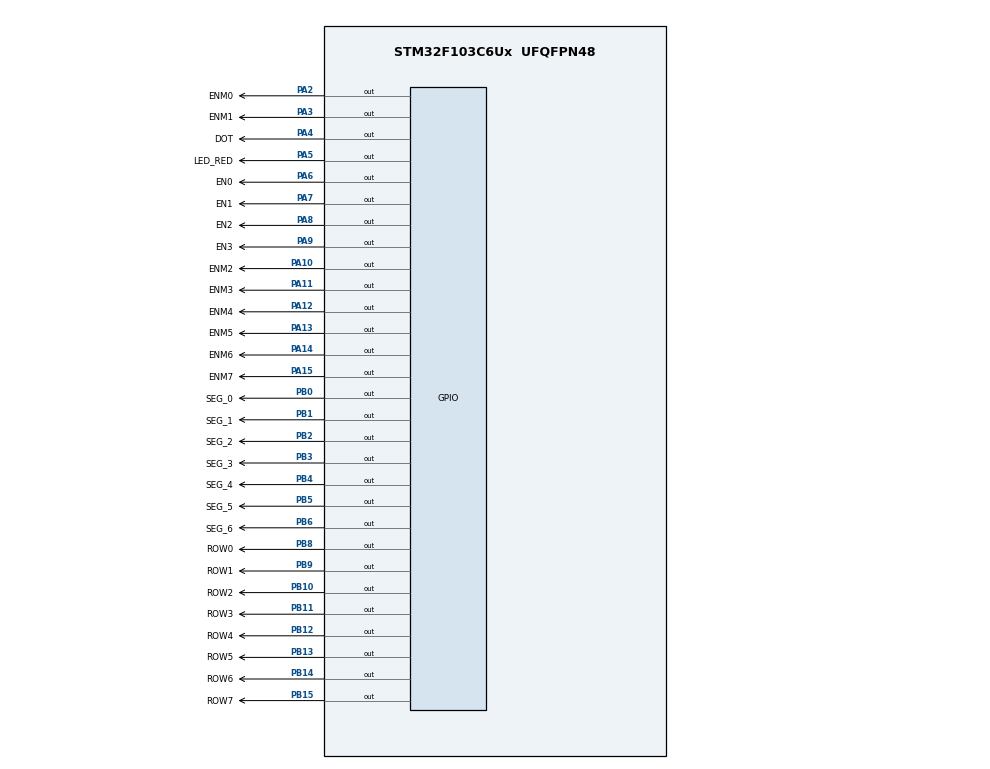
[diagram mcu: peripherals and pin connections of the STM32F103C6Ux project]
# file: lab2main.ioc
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Mcu.Family=STM32F1
Mcu.Name=STM32F103C6Ux
Mcu.Package=UFQFPN48
NVIC.PriorityGroup=NVIC_PRIORITYGROUP_4
NVIC.TIM2_IRQn=true\:0\:0\:false\:false\:true\:true\:true
PA10.GPIO_Label=ENM2
PA10.Signal=GPIO_Output
PA11.GPIO_Label=ENM3
PA11.Signal=GPIO_Output
PA12.GPIO_Label=ENM4
PA12.Signal=GPIO_Output
PA13.GPIO_Label=ENM5
PA13.Signal=GPIO_Output
PA14.GPIO_Label=ENM6
PA14.Signal=GPIO_Output
PA15.GPIO_Label=ENM7
PA15.Signal=GPIO_Output
PA2.GPIO_Label=ENM0
PA2.Signal=GPIO_Output
PA3.GPIO_Label=ENM1
PA3.Signal=GPIO_Output
PA4.GPIO_Label=DOT
PA4.Signal=GPIO_Output
PA5.GPIO_Label=LED_RED
PA5.Signal=GPIO_Output
PA6.GPIO_Label=EN0
PA6.Signal=GPIO_Output
PA7.GPIO_Label=EN1
PA7.Signal=GPIO_Output
PA8.GPIO_Label=EN2
PA8.Signal=GPIO_Output
PA9.GPIO_Label=EN3
PA9.Signal=GPIO_Output
PB0.GPIO_Label=SEG_0
PB0.Signal=GPIO_Output
PB1.GPIO_Label=SEG_1
PB1.Signal=GPIO_Output
PB10.GPIO_Label=ROW2
PB10.Signal=GPIO_Output
PB11.GPIO_Label=ROW3
PB11.Signal=GPIO_Output
PB12.GPIO_Label=ROW4
PB12.Signal=GPIO_Output
PB13.GPIO_Label=ROW5
PB13.Signal=GPIO_Output
PB14.GPIO_Label=ROW6
PB14.Signal=GPIO_Output
PB15.GPIO_Label=ROW7
PB15.Signal=GPIO_Output
PB2.GPIO_Label=SEG_2
PB2.Signal=GPIO_Output
PB3.GPIO_Label=SEG_3
PB3.Signal=GPIO_Output
PB4.GPIO_Label=SEG_4
PB4.Signal=GPIO_Output
PB5.GPIO_Label=SEG_5
PB5.Signal=GPIO_Output
PB6.GPIO_Label=SEG_6
PB6.Signal=GPIO_Output
PB8.GPIO_Label=ROW0
PB8.Signal=GPIO_Output
PB9.GPIO_Label=ROW1
PB9.Signal=GPIO_Output
ProjectManager.HeapSize=0x200
ProjectManager.StackSize=0x400
ProjectManager.TargetToolchain=STM32CubeIDE
RCC.APB1Freq_Value=8000000
RCC.APB2Freq_Value=8000000
TIM2.Period=9
TIM2.Prescaler=7999
VP_SYS_VS_ND.Mode=No_Debug
VP_TIM2_VS_ClockSourceINT.Mode=Internal
board=custom

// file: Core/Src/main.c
/* USER CODE BEGIN Header */
/**
  ******************************************************************************
  * @file           : main.c
  * @brief          : Main program body
  ******************************************************************************
  * @attention
  *
  * <h2><center>&copy; Copyright (c) 2024 STMicroelectronics.
  * All rights reserved.</center></h2>
  *
  * This software component is licensed by ST under BSD 3-Clause license,
  * the "License"; You may not use this file except in compliance with the
  * License. You may obtain a copy of the License at:
  *                        opensource.org/licenses/BSD-3-Clause
  *
  ******************************************************************************
  */
/* USER CODE END Header */
#include "main.h"

/* USER CODE BEGIN Includes */
#include "softwareTimer.h"
#include "display7seg.h"
#include "Exercise1.h"
#include "Exercise2.h"
#include "Exercise3.h"
#include "Exercise5.h"
/* USER CODE END Includes */

TIM_HandleTypeDef htim2;

void SystemClock_Config(void);
static void MX_TIM2_Init(void);
static void MX_GPIO_Init(void);

int main(void)
{

  /* MCU Configuration--------------------------------------------------------*/

  /* Reset of all peripherals, Initializes the Flash interface and the Systick. */
  HAL_Init();

  /* Configure the system clock */
  SystemClock_Config();

  /* Initialize all configured peripherals */
  MX_TIM2_Init();
  MX_GPIO_Init();
  /* USER CODE BEGIN 2 */
  HAL_TIM_Base_Start_IT (&htim2);
  /* USER CODE END 2 */

  /* Infinite loop */
  /* USER CODE BEGIN WHILE */
  setTimer(0, 1000);
  setTimer(1, 250);
  while (1)
  {
   	   if (timer_flag[0] == 1) {
   		   setTimer(0, 1000);

   		   HAL_GPIO_TogglePin(DOT_GPIO_Port, DOT_Pin);

   		   second++;
	 	   if (second >= 60) {
	 	       second = 0;
	 	       minute++;
	 	   }

	 	   if (minute >= 60) {
	 		   minute = 0;
	 		   hour++;
	 	   }

	 	   if (hour >= 24) {
	 		   hour = 0;
	 	   }

	 	   updateClockBuffer();
   	   }

   	   if (timer_flag[1] == 1) {
   		   setTimer(1, 250);
   		   update7SEG(index_LED++);
   	   }
    /* USER CODE END WHILE */

  }
}

void SystemClock_Config(void)
{
  RCC_OscInitTypeDef RCC_OscInitStruct = {0};
  RCC_ClkInitTypeDef RCC_ClkInitStruct = {0};

  /** Initializes the RCC Oscillators according to the specified parameters
  * in the RCC_OscInitTypeDef structure.
  */
  RCC_OscInitStruct.OscillatorType = RCC_OSCILLATORTYPE_HSI;
  RCC_OscInitStruct.HSIState = RCC_HSI_ON;
  RCC_OscInitStruct.HSICalibrationValue = RCC_HSICALIBRATION_DEFAULT;
  RCC_OscInitStruct.PLL.PLLState = RCC_PLL_NONE;
  if (HAL_RCC_OscConfig(&RCC_OscInitStruct) != HAL_OK)
  {
    Error_Handler();
  }
  /** Initializes the CPU, AHB and APB buses clocks
  */
  RCC_ClkInitStruct.ClockType = RCC_CLOCKTYPE_HCLK|RCC_CLOCKTYPE_SYSCLK
                              |RCC_CLOCKTYPE_PCLK1|RCC_CLOCKTYPE_PCLK2;
  RCC_ClkInitStruct.SYSCLKSource = RCC_SYSCLKSOURCE_HSI;
  RCC_ClkInitStruct.AHBCLKDivider = RCC_SYSCLK_DIV1;
  RCC_ClkInitStruct.APB1CLKDivider = RCC_HCLK_DIV1;
  RCC_ClkInitStruct.APB2CLKDivider = RCC_HCLK_DIV1;

  if (HAL_RCC_ClockConfig(&RCC_ClkInitStruct, FLASH_LATENCY_0) != HAL_OK)
  {
    Error_Handler();
  }
}

static void MX_TIM2_Init(void)
{

  TIM_ClockConfigTypeDef sClockSourceConfig = {0};
  TIM_MasterConfigTypeDef sMasterConfig = {0};

  htim2.Instance = TIM2;
  htim2.Init.Prescaler = 7999;
  htim2.Init.CounterMode = TIM_COUNTERMODE_UP;
  htim2.Init.Period = 9;
  htim2.Init.ClockDivision = TIM_CLOCKDIVISION_DIV1;
  htim2.Init.AutoReloadPreload = TIM_AUTORELOAD_PRELOAD_DISABLE;
  if (HAL_TIM_Base_Init(&htim2) != HAL_OK)
  {
    Error_Handler();
  }
  sClockSourceConfig.ClockSource = TIM_CLOCKSOURCE_INTERNAL;
  if (HAL_TIM_ConfigClockSource(&htim2, &sClockSourceConfig) != HAL_OK)
  {
    Error_Handler();
  }
  sMasterConfig.MasterOutputTrigger = TIM_TRGO_RESET;
  sMasterConfig.MasterSlaveMode = TIM_MASTERSLAVEMODE_DISABLE;
  if (HAL_TIMEx_MasterConfigSynchronization(&htim2, &sMasterConfig) != HAL_OK)
  {
    Error_Handler();
  }

}

static void MX_GPIO_Init(void)
{
  GPIO_InitTypeDef GPIO_InitStruct = {0};

  /* GPIO Ports Clock Enable */
  __HAL_RCC_GPIOA_CLK_ENABLE();
  __HAL_RCC_GPIOB_CLK_ENABLE();

  /*Configure GPIO pin Output Level */
  HAL_GPIO_WritePin(GPIOA, DOT_Pin|LED_RED_Pin|EN0_Pin|EN1_Pin
                          |EN2_Pin|EN3_Pin, GPIO_PIN_RESET);

  /*Configure GPIO pin Output Level */
  HAL_GPIO_WritePin(GPIOB, SEG_0_Pin|SEG_1_Pin|SEG_2_Pin|SEG_3_Pin
                          |SEG_4_Pin|SEG_5_Pin|SEG_6_Pin, GPIO_PIN_RESET);

  /*Configure GPIO pins : DOT_Pin LED_RED_Pin EN0_Pin EN1_Pin
                           EN2_Pin EN3_Pin */
  GPIO_InitStruct.Pin = DOT_Pin|LED_RED_Pin|EN0_Pin|EN1_Pin
                          |EN2_Pin|EN3_Pin;
  GPIO_InitStruct.Mode = GPIO_MODE_OUTPUT_PP;
  GPIO_InitStruct.Pull = GPIO_NOPULL;
  GPIO_InitStruct.Speed = GPIO_SPEED_FREQ_LOW;
  HAL_GPIO_Init(GPIOA, &GPIO_InitStruct);

  /*Configure GPIO pins : SEG_0_Pin SEG_1_Pin SEG_2_Pin SEG_3_Pin
                           SEG_4_Pin SEG_5_Pin SEG_6_Pin */
  GPIO_InitStruct.Pin = SEG_0_Pin|SEG_1_Pin|SEG_2_Pin|SEG_3_Pin
                          |SEG_4_Pin|SEG_5_Pin|SEG_6_Pin;
  GPIO_InitStruct.Mode = GPIO_MODE_OUTPUT_PP;
  GPIO_InitStruct.Pull = GPIO_NOPULL;
  GPIO_InitStruct.Speed = GPIO_SPEED_FREQ_LOW;
  HAL_GPIO_Init(GPIOB, &GPIO_InitStruct);

}

/* USER CODE BEGIN 4 */

void HAL_TIM_PeriodElapsedCallback (TIM_HandleTypeDef * htim) {
	timer_run();
}

/* USER CODE END 4 */

void Error_Handler(void)
{
  __disable_irq();
  while (1)
  {
  }
}

/************************ (C) COPYRIGHT STMicroelectronics *****END OF FILE****/
